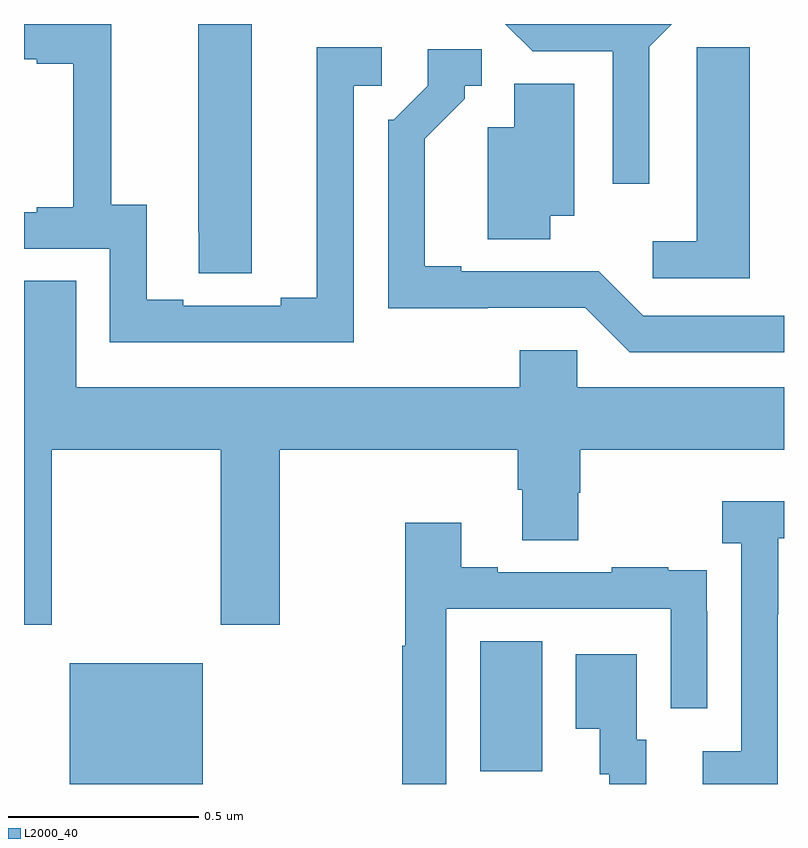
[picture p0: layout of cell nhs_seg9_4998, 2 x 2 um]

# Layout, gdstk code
import gdstk
lib = gdstk.Library(unit=1e-6, precision=1e-09)
def R(c, l, rs):  # rectangles x0, y0, x1, y1
    for r in rs: c.add(gdstk.rectangle(r[:2], r[2:], *l))
def P(c, l, *ps):  # polygons
    for p in ps: c.add(gdstk.Polygon(p, *l))
L2000_40 = (2000, 40)

nhs_seg9_4998 = lib.new_cell('nhs_seg9_4998')
R(nhs_seg9_4998, L2000_40, [(173.12,1235.5,173.47,1235.818), (174.2,1235.533,174.364,1235.876)])
P(nhs_seg9_4998, L2000_40, [(173.599,1237.5),(173.459,1237.5),(173.459,1236.952),(173.46,1236.952),(173.46,1236.844),(173.599,1236.844)],
  [(174.645,1237.44),(174.705,1237.5),(174.267,1237.5),(174.339,1237.428),(174.549,1237.428),(174.549,1237.08),(174.645,1237.08)],
  [(173.868,1237.338),(173.941,1237.338),(173.941,1237.439),(173.771,1237.439),(173.771,1236.779),(173.675,1236.779),(173.675,1236.759),(173.419,1236.759),(173.419,1236.774),(173.323,1236.774),(173.323,1237.025),(173.229,1237.025),(173.229,1237.5),(173,1237.5),(173,1237.407),(173.033,1237.407),(173.033,1237.395),(173.129,1237.395),(173.129,1237.018),(173.033,1237.018),(173.033,1237.005),(173,1237.005),(173,1236.909),(173.226,1236.909),(173.226,1236.663),(173.868,1236.663)],
  [(174.91,1237.439),(174.771,1237.439),(174.771,1237.331),(174.77,1237.331),(174.77,1236.928),(174.654,1236.928),(174.654,1236.831),(174.91,1236.831)],
  [(175,1236.732),(174.63,1236.732),(174.512,1236.85),(174.416,1236.85),(174.416,1236.849),(174.151,1236.849),(174.151,1236.862),(174.055,1236.862),(174.055,1237.198),(174.16,1237.303),(174.16,1237.338),(174.205,1237.338),(174.205,1237.434),(174.063,1237.434),(174.063,1237.338),(173.973,1237.248),(173.958,1237.248),(173.958,1236.752),(174.221,1236.752),(174.221,1236.753),(174.477,1236.753),(174.594,1236.636),(175,1236.636)],
  [(174.385,1236.995),(174.448,1236.995),(174.448,1237.343),(174.29,1237.343),(174.29,1237.228),(174.221,1237.228),(174.221,1236.934),(174.385,1236.934)],
  [(173.073,1236.38),(173.518,1236.38),(173.518,1235.919),(173.673,1235.919),(173.673,1236.38),(174.299,1236.38),(174.299,1236.274),(174.311,1236.274),(174.311,1236.142),(174.459,1236.142),(174.459,1236.267),(174.464,1236.267),(174.464,1236.38),(175,1236.38),(175,1236.544),(174.456,1236.544),(174.456,1236.642),(174.305,1236.642),(174.305,1236.544),(173.137,1236.544),(173.137,1236.824),(173,1236.824),(173,1235.919),(173.073,1235.919)],
  [(174.984,1235.947),(174.985,1235.947),(174.985,1236.147),(175,1236.147),(175,1236.244),(174.837,1236.244),(174.837,1236.134),(174.888,1236.134),(174.888,1235.586),(174.786,1235.586),(174.786,1235.5),(174.984,1235.5)],
  [(174.111,1235.961),(174.702,1235.961),(174.702,1235.7),(174.798,1235.7),(174.798,1235.954),(174.797,1235.954),(174.797,1236.063),(174.695,1236.063),(174.695,1236.07),(174.547,1236.07),(174.547,1236.057),(174.247,1236.057),(174.247,1236.07),(174.151,1236.07),(174.151,1236.187),(174.003,1236.187),(174.003,1235.864),(173.995,1235.864),(173.995,1235.5),(174.111,1235.5)],
  [(174.637,1235.616),(174.613,1235.616),(174.613,1235.842),(174.452,1235.842),(174.452,1235.645),(174.515,1235.645),(174.515,1235.526),(174.54,1235.526),(174.54,1235.5),(174.637,1235.5)])

lib.write_gds('nhs_seg9_4998.gds')
